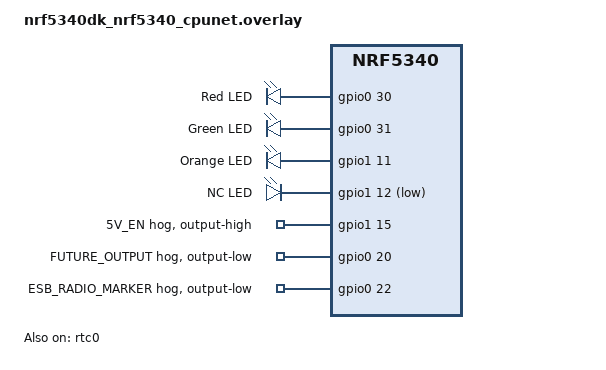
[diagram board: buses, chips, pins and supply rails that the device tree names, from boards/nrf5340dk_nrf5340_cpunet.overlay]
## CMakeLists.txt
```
#
# Copyright (c) 2018 Nordic Semiconductor
#
# SPDX-License-Identifier: LicenseRef-Nordic-5-Clause
#
cmake_minimum_required(VERSION 3.20.0)

find_package(Zephyr REQUIRED HINTS $ENV{ZEPHYR_BASE})
project(esb_ptx)

FILE(GLOB app_sources src/*.c)
# NORDIC SDK APP START
target_sources(app PRIVATE ${app_sources})
# NORDIC SDK APP END
```

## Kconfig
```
#
# Copyright (c) 2020 Nordic Semiconductor
#
# SPDX-License-Identifier: LicenseRef-Nordic-5-Clause
#

source "Kconfig.zephyr"

menu "Enhanced ShockBurst: Transmitter"

config ESB_PTX_RTC0_TICK_RATE_HZ
	int "RTC0 tick rate in hertz"
	range 8 32768
	default 8
	help
	  Sets RTC0's counter and TICK interrupt rate. The value must divide
	  the 32.768 kHz LFCLK exactly. The RTC0 prescaler limits this rate to
	  8 Hz or greater.

config ESB_PTX_APP_LOG_LEVEL
	int "Log level for the ESB PTX sample"
	default 4

endmenu
```

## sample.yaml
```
sample:
  name: ESB ptx Sample
tests:
  sample.esb.ptx:
    sysbuild: true
    filter: CONFIG_UART_CONSOLE and CONFIG_SERIAL_SUPPORT_INTERRUPT
    harness: keyboard
    integration_platforms:
      - nrf52dk/nrf52832
      - nrf52840dk/nrf52840
      - nrf52dk/nrf52810
    platform_allow: nrf52dk/nrf52832 nrf52840dk/nrf52840 nrf52dk/nrf52810
    tags: esb samples console sysbuild ci_samples_esb
  sample.esb.ptx.build:
    sysbuild: true
    build_only: true
    integration_platforms:
      - nrf52dk/nrf52832
      - nrf52833dk/nrf52833
      - nrf52840dk/nrf52840
      - nrf52dk/nrf52810
      - nrf5340dk/nrf5340/cpunet
      - nrf21540dk/nrf52840
      - nrf54h20dk/nrf54h20/cpurad
      - nrf54l15dk/nrf54l15/cpuapp
    platform_allow: >
      nrf52dk/nrf52832
      nrf52833dk/nrf52833
      nrf52840dk/nrf52840
      nrf52dk/nrf52810
      nrf5340dk/nrf5340/cpunet
      nrf21540dk/nrf52840
      nrf54h20dk/nrf54h20/cpurad
      nrf54l15dk/nrf54l15/cpuapp
    tags: esb ci_build sysbuild ci_samples_esb
  sample.esb.ptx.dynamic_irq:
    sysbuild: true
    build_only: true
    extra_configs:
      - CONFIG_ESB_DYNAMIC_INTERRUPTS=y
      - CONFIG_DYNAMIC_INTERRUPTS=y
      - CONFIG_DYNAMIC_DIRECT_INTERRUPTS=y
      - CONFIG_MPSL_DYNAMIC_INTERRUPTS=y
    integration_platforms:
      - nrf5340dk/nrf5340/cpunet
      - nrf52840dk/nrf52840
      - nrf54l15dk/nrf54l15/cpuapp
      - nrf54h20dk/nrf54h20/cpurad
    platform_allow: >
      nrf5340dk/nrf5340/cpunet
      nrf52840dk/nrf52840
      nrf54l15dk/nrf54l15/cpuapp
      nrf54h20dk/nrf54h20/cpurad
    tags: esb ci_build sysbuild ci_samples_esb
  sample.esb.ptx.nrf5340_nrf21540:
    sysbuild: true
    build_only: true
    extra_args: SHIELD=nrf21540ek
    integration_platforms:
      - nrf5340dk/nrf5340/cpunet
    platform_allow: nrf5340dk/nrf5340/cpunet
    tags: esb ci_build sysbuild ci_samples_esb
  sample.esb.ptx.fast_switching:
    sysbuild: true
    build_only: true
    extra_configs:
      - CONFIG_ESB_FAST_SWITCHING=y
      - CONFIG_ESB_FAST_CHANNEL_SWITCHING=y
    integration_platforms:
      - nrf54h20dk/nrf54h20/cpurad
    platform_allow: >
      nrf54h20dk/nrf54h20/cpurad
    tags: esb ci_build sysbuild ci_samples_esb
```

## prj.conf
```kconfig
#
# Copyright (c) 2019 Nordic Semiconductor ASA
#
# SPDX-License-Identifier: LicenseRef-Nordic-5-Clause
#
CONFIG_NCS_SAMPLES_DEFAULTS=y
CONFIG_ESB=y
CONFIG_DK_LIBRARY=y
CONFIG_CLOCK_CONTROL=y
CONFIG_GPIO=y

CONFIG_ESB_PTX_RTC0_TICK_RATE_HZ=8

# LF clock source. The SDK bypass patch below configures the LFXO path for
# our external 32.768 kHz clock.
CONFIG_SOC_ENABLE_LFXO=y
CONFIG_CLOCK_CONTROL_NRF_K32SRC_RC=n

CONFIG_CLOCK_CONTROL_NRF_K32SRC_XTAL=y
CONFIG_SOC_LFXO_CAP_EXTERNAL=y
#CONFIG_CLOCK_CONTROL_NRF_K32SRC_EXT_FULL_SWING=y # What we want, but not supported on nRF5340. Hacked the SDK instead.
CONFIG_CLOCK_CONTROL_NRF_K32SRC_20PPM=y

# LFXO bypass is for a rail-to-rail external clock source.
CONFIG_SOC_LFXO_BYPASS=y
CONFIG_SOC_HFXO_CAP_INTERNAL=y
CONFIG_SOC_HFXO_CAP_INT_VALUE_X2=25
```

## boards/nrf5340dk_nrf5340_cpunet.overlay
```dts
/*
 * Board-specific Devicetree overlay template for nrf5340dk/nrf5340/cpunet.
 *
 * The build system discovers this file automatically for that board target.
 * Add only project-specific node overrides; all other settings inherit from
 * the nRF5340 DK board Devicetree.
 */

&{/buttons} {
	status = "disabled";
};

&led0 {
	gpios = <&gpio0 30 0>;
	label = "Red LED";
};

&led1 {
	gpios = <&gpio0 31 0>;
	label = "Green LED";
};

&led2 {
	gpios = <&gpio1 11 0>;
	label = "Orange LED";
};

&led3 {
	gpios = <&gpio1 12 GPIO_ACTIVE_LOW>;
	label = "NC LED";
};

&uart0 {
	status = "disabled";
};

&rtc0 {
	status = "okay";
	/* Keep below ESB's priority-1 radio interrupt. */
	interrupts = <17 2>;
};

&rtc1 {
	/* Zephyr system clock: do not preempt the RTC0 TX ISR. */
	interrupts = <22 3>;
};

&gpio1 {
	five_v_en: five_v_en {
		gpio-hog;
		gpios = <15 GPIO_ACTIVE_HIGH>;
		output-high;
		line-name = "5V_EN";
	};
};

&gpio0 {
	future_output: future_output {
		gpio-hog;
		gpios = <20 GPIO_ACTIVE_HIGH>;
		output-low;
		line-name = "FUTURE_OUTPUT";
	};

	packet_strobe: packet_strobe {
		gpio-hog;
		gpios = <22 GPIO_ACTIVE_HIGH>;
		output-low;
		line-name = "ESB_RADIO_MARKER";
	};
};
```

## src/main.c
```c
/*
 * Copyright (c) 2018 Nordic Semiconductor ASA
 *
 * SPDX-License-Identifier: LicenseRef-Nordic-5-Clause
 */

#include <errno.h>

#include <zephyr/device.h>
#include <zephyr/drivers/clock_control/nrf_clock_control.h>
#include <zephyr/drivers/gpio.h>
#include <zephyr/irq.h>
#include <zephyr/kernel.h>
#include <zephyr/logging/log.h>
#include <zephyr/sys/atomic.h>
#include <zephyr/sys/byteorder.h>

#include <dk_buttons_and_leds.h>
#include <esb.h>
#include <hal/nrf_gpio.h>
#include <hal/nrf_radio.h>
#include <hal/nrf_rtc.h>
#include <helpers/nrfx_gppi.h>
#include <nrfx_gpiote.h>

LOG_MODULE_REGISTER(esb_ptx, CONFIG_ESB_PTX_APP_LOG_LEVEL);

#define ESB_PTX_PAYLOAD_LENGTH		8U
#define RTC0_TICK_RATE_HZ		CONFIG_ESB_PTX_RTC0_TICK_RATE_HZ
#define RTC0_PRESCALER		NRF_RTC_FREQ_TO_PRESCALER(RTC0_TICK_RATE_HZ)
#define ORANGE_LED_DUTY_CYCLE_PERCENT	5U
#define ORANGE_LED_PERIOD_MS		1000U
#define ORANGE_LED_ON_MS		\
	((ORANGE_LED_PERIOD_MS * ORANGE_LED_DUTY_CYCLE_PERCENT) / 100U)
#define ORANGE_LED_OFF_MS		(ORANGE_LED_PERIOD_MS - ORANGE_LED_ON_MS)
#define RTC0_NODE			DT_NODELABEL(rtc0)
#define RTC0_TX_IRQ_PRIORITY		DT_IRQ(RTC0_NODE, priority)
#define PACKET_STROBE_NODE		DT_NODELABEL(packet_strobe)
#define PACKET_STROBE_PORT_NODE		DT_PARENT(PACKET_STROBE_NODE)
#define PACKET_STROBE_GPIOTE_INST	\
	DT_PROP(DT_PHANDLE(PACKET_STROBE_PORT_NODE, gpiote_instance), instance)
#define PACKET_STROBE_PSEL		\
	NRF_GPIO_PIN_MAP(DT_PROP(PACKET_STROBE_PORT_NODE, port), \
			 DT_GPIO_HOG_PIN_BY_IDX(PACKET_STROBE_NODE, 0))
#define TX_INTERRUPT_MARKER_NODE	DT_NODELABEL(future_output)
#define TX_INTERRUPT_MARKER_PORT_NODE	DT_PARENT(TX_INTERRUPT_MARKER_NODE)
#define TX_INTERRUPT_MARKER_PSEL	\
	NRF_GPIO_PIN_MAP(DT_PROP(TX_INTERRUPT_MARKER_PORT_NODE, port), \
			 DT_GPIO_HOG_PIN_BY_IDX(TX_INTERRUPT_MARKER_NODE, 0))

BUILD_ASSERT((NRF_RTC_INPUT_FREQ % RTC0_TICK_RATE_HZ) == 0U);
BUILD_ASSERT(ORANGE_LED_ON_MS > 0U);
BUILD_ASSERT(ORANGE_LED_OFF_MS > 0U);
BUILD_ASSERT(RTC0_TX_IRQ_PRIORITY >= CONFIG_ESB_EVENT_IRQ_PRIORITY,
	     "RTC0 interrupt priority must not preempt ESB events");
BUILD_ASSERT(IS_ENABLED(_CONCAT(CONFIG_, _CONCAT(NRFX_GPIOTE,
						 PACKET_STROBE_GPIOTE_INST))),
	     "The packet strobe GPIOTE instance must be enabled");

static atomic_t tx_ready;
static atomic_t packet_counter;
static const nrfx_gpiote_t packet_strobe_gpiote =
	NRFX_GPIOTE_INSTANCE(PACKET_STROBE_GPIOTE_INST);
static struct esb_payload tx_payload = ESB_CREATE_PAYLOAD(0,
	0x00, 0x00, 0x00, 0x00, 0x00, 0x00, 0x00, 0x00);

static uint32_t rtc0_counter_get(void)
{
	return nrf_rtc_counter_get(NRF_RTC0);
}

static void rtc0_timebase_start(void)
{
	/*
	 * This ESB configuration uses MPSL FEM-only support, so it does not
	 * initialize MPSL or use RTC0. The network-core system clock uses RTC1.
	 */
	nrf_rtc_task_trigger(NRF_RTC0, NRF_RTC_TASK_STOP);
	nrf_rtc_prescaler_set(NRF_RTC0, RTC0_PRESCALER);
	nrf_rtc_task_trigger(NRF_RTC0, NRF_RTC_TASK_CLEAR);
	nrf_rtc_event_clear(NRF_RTC0, NRF_RTC_EVENT_TICK);
	nrf_rtc_event_enable(NRF_RTC0, NRF_RTC_INT_TICK_MASK);
	nrf_rtc_int_enable(NRF_RTC0, NRF_RTC_INT_TICK_MASK);
	nrf_rtc_task_trigger(NRF_RTC0, NRF_RTC_TASK_START);
}

static int packet_strobe_initialize(void)
{
	const nrfx_gpiote_output_config_t output_config =
		NRFX_GPIOTE_DEFAULT_OUTPUT_CONFIG;
	nrfx_gpiote_task_config_t task_config;
	uint8_t gpiote_channel;
	uint8_t ready_dppi_channel;
	uint8_t end_dppi_channel;
	nrfx_err_t nrfx_err;

	if (!nrfx_gpiote_init_check(&packet_strobe_gpiote)) {
		nrfx_err = nrfx_gpiote_init(&packet_strobe_gpiote, 0);
		if (nrfx_err != NRFX_SUCCESS) {
			LOG_ERR("Packet strobe GPIOTE initialization failed: 0x%08x", nrfx_err);
			return -EIO;
		}
	}

	nrfx_err = nrfx_gpiote_channel_alloc(&packet_strobe_gpiote, &gpiote_channel);
	if (nrfx_err != NRFX_SUCCESS) {
		LOG_ERR("Packet strobe GPIOTE channel allocation failed: 0x%08x",
			nrfx_err);
		return -ENOMEM;
	}

	task_config.task_ch = gpiote_channel;
	task_config.polarity = NRF_GPIOTE_POLARITY_TOGGLE;
	task_config.init_val = NRF_GPIOTE_INITIAL_VALUE_LOW;
	nrfx_err = nrfx_gpiote_output_configure(&packet_strobe_gpiote,
						   PACKET_STROBE_PSEL, &output_config, &task_config);
	if (nrfx_err != NRFX_SUCCESS) {
		LOG_ERR("Packet strobe GPIOTE configuration failed: 0x%08x", nrfx_err);
		return -EIO;
	}

	nrfx_err = nrfx_gppi_channel_alloc(&ready_dppi_channel);
	if (nrfx_err != NRFX_SUCCESS) {
		LOG_ERR("Packet strobe READY DPPI channel allocation failed: 0x%08x",
			nrfx_err);
		return -ENOMEM;
	}

	nrfx_err = nrfx_gppi_channel_alloc(&end_dppi_channel);
	if (nrfx_err != NRFX_SUCCESS) {
		LOG_ERR("Packet strobe END DPPI channel allocation failed: 0x%08x",
			nrfx_err);
		return -ENOMEM;
	}

	nrfx_gpiote_out_task_enable(&packet_strobe_gpiote, PACKET_STROBE_PSEL);
	/* ESB's READY_START shortcut starts the packet at the READY event. */
	nrfx_gppi_channel_endpoints_setup(
		ready_dppi_channel,
		nrf_radio_event_address_get(NRF_RADIO, NRF_RADIO_EVENT_READY),
		nrfx_gpiote_set_task_address_get(&packet_strobe_gpiote, PACKET_STROBE_PSEL));
	nrfx_gppi_channel_endpoints_setup(
		end_dppi_channel,
		nrf_radio_event_address_get(NRF_RADIO, NRF_RADIO_EVENT_END),
		nrfx_gpiote_clr_task_address_get(&packet_strobe_gpiote, PACKET_STROBE_PSEL));
	nrfx_gppi_channels_enable(BIT(ready_dppi_channel) | BIT(end_dppi_channel));

	return 0;
}

static void event_handler(const struct esb_evt *event)
{
	switch (event->evt_id) {
	case ESB_EVENT_TX_SUCCESS:
		atomic_inc(&packet_counter);
		atomic_set(&tx_ready, 1);
		break;

	case ESB_EVENT_TX_FAILED:
		atomic_set(&tx_ready, 1);
		break;

	default:
		break;
	}
}

#if defined(CONFIG_CLOCK_CONTROL_NRF)

static int clocks_start(void)
{
	int err;
	int res;
	struct onoff_manager *clk_mgr;
	struct onoff_client clk_cli;

	clk_mgr = z_nrf_clock_control_get_onoff(CLOCK_CONTROL_NRF_SUBSYS_HF);
	if (!clk_mgr) {
		LOG_ERR("Unable to get the clock manager");
		return -ENXIO;
	}

	sys_notify_init_spinwait(&clk_cli.notify);

	err = onoff_request(clk_mgr, &clk_cli);
	if (err < 0) {
		LOG_ERR("HF clock request failed: %d", err);
		return err;
	}

	do {
		err = sys_notify_fetch_result(&clk_cli.notify, &res);
		if (!err && res) {
			LOG_ERR("HF clock could not start: %d", res);
			return res;
		}
	} while (err);

#if defined(NRF54L15_XXAA)
	/* MLTPAN-20 */
	nrf_clock_task_trigger(NRF_CLOCK, NRF_CLOCK_TASK_PLLSTART);
#endif /* defined(NRF54L15_XXAA) */

	return 0;
}

#elif defined(CONFIG_CLOCK_CONTROL_NRF2)

static int clocks_start(void)
{
	int err;
	int res;
	const struct device *radio_clk_dev =
		DEVICE_DT_GET_OR_NULL(DT_CLOCKS_CTLR(DT_NODELABEL(radio)));
	struct onoff_client radio_cli;

	nrf_lrcconf_poweron_force_set(NRF_LRCCONF010, NRF_LRCCONF_POWER_DOMAIN_1, true);

	sys_notify_init_spinwait(&radio_cli.notify);

	err = nrf_clock_control_request(radio_clk_dev, NULL, &radio_cli);
	do {
		err = sys_notify_fetch_result(&radio_cli.notify, &res);
		if (!err && res) {
			LOG_ERR("Radio clock could not start: %d", res);
			return res;
		}
	} while (err == -EAGAIN);

#if defined(NRF54L15_XXAA)
	/* MLTPAN-20 */
	nrf_clock_task_trigger(NRF_CLOCK, NRF_CLOCK_TASK_PLLSTART);
#endif /* defined(NRF54L15_XXAA) */

	return 0;
}

#else
BUILD_ASSERT(false, "No clock control driver");
#endif /* defined(CONFIG_CLOCK_CONTROL_NRF2) */

static int esb_initialize(void)
{
	int err;
	uint8_t base_addr_0[4] = {0xE7, 0xE7, 0xE7, 0xE7};
	uint8_t base_addr_1[4] = {0xC2, 0xC2, 0xC2, 0xC2};
	uint8_t addr_prefix[8] = {0xE7, 0xC2, 0xC3, 0xC4,
				  0xC5, 0xC6, 0xC7, 0xC8};
	struct esb_config config = ESB_DEFAULT_CONFIG;

	/* DPL is required by ESB for per-packet no-ACK transmissions. */
	config.protocol = ESB_PROTOCOL_ESB_DPL;
	config.payload_length = ESB_PTX_PAYLOAD_LENGTH;
	config.retransmit_delay = 600;
	config.bitrate = ESB_BITRATE_2MBPS;
	config.event_handler = event_handler;
	config.mode = ESB_MODE_PTX;
	config.selective_auto_ack = true;
	if (IS_ENABLED(CONFIG_ESB_FAST_SWITCHING)) {
		config.use_fast_ramp_up = true;
	}

	err = esb_init(&config);
	if (err) {
		return err;
	}

	err = esb_set_base_address_0(base_addr_0);
	if (err) {
		return err;
	}

	err = esb_set_base_address_1(base_addr_1);
	if (err) {
		return err;
	}

	return esb_set_prefixes(addr_prefix, ARRAY_SIZE(addr_prefix));
}

static int packet_send(uint32_t rtc0_ticks)
{
	uint32_t count = (uint32_t)atomic_get(&packet_counter);
	int err;

	/* Payload fields: RTC0 counter followed by packet counter, both little-endian. */
	sys_put_le32(rtc0_ticks, &tx_payload.data[0]);
	sys_put_le32(count, &tx_payload.data[sizeof(rtc0_ticks)]);
	tx_payload.noack = true;

	err = esb_write_payload(&tx_payload);
	if (err) {
		return err;
	}

	return 0;
}

ISR_DIRECT_DECLARE(rtc0_tx_irq_handler)
{
	//uint32_t rtc0_ticks;
	int err;

	nrf_gpio_pin_set(TX_INTERRUPT_MARKER_PSEL);

	if (!nrf_rtc_event_check(NRF_RTC0, NRF_RTC_EVENT_TICK)) {
		return 0;
	}

	nrf_rtc_event_clear(NRF_RTC0, NRF_RTC_EVENT_TICK);
	//rtc0_ticks = rtc0_counter_get();

	if (!atomic_cas(&tx_ready, 1, 0)) {
		return 0;
	}

	//nrf_gpio_pin_set(TX_INTERRUPT_MARKER_PSEL);
	//err = packet_send(rtc0_ticks);
	packet_send(88);
	nrf_gpio_pin_clear(TX_INTERRUPT_MARKER_PSEL);
	if (err) {
		atomic_set(&tx_ready, 1);
	}

	return 0;
}

static void rtc0_tx_irq_initialize(void)
{
	IRQ_DIRECT_CONNECT(DT_IRQN(RTC0_NODE), RTC0_TX_IRQ_PRIORITY,
			   rtc0_tx_irq_handler, 0);
	irq_enable(DT_IRQN(RTC0_NODE));
}

int main(void)
{
	bool orange_led_on = true;
	int64_t next_led_state_change_ms;
	int err;

	err = clocks_start();
	if (err) {
		return 0;
	}

	err = dk_leds_init();
	if (err) {
		LOG_ERR("LED initialization failed: %d", err);
		return 0;
	}

	err = esb_initialize();
	if (err) {
		LOG_ERR("ESB initialization failed: %d", err);
		return 0;
	}

	err = packet_strobe_initialize();
	if (err) {
		return 0;
	}

	atomic_set(&tx_ready, 1);
	atomic_set(&packet_counter, 0);
	err = dk_set_led(DK_LED3, orange_led_on);
	if (err) {
		LOG_ERR("Orange LED initialization failed: %d", err);
		return 0;
	}

	rtc0_tx_irq_initialize();
	rtc0_timebase_start();
	next_led_state_change_ms = k_uptime_get() + ORANGE_LED_ON_MS;

	LOG_INF("RTC0 TICK rate is %u Hz", RTC0_TICK_RATE_HZ);

	while (1) {
		int64_t now_ms = k_uptime_get();

		if (now_ms >= next_led_state_change_ms) {
			orange_led_on = !orange_led_on;
			next_led_state_change_ms += orange_led_on ? ORANGE_LED_ON_MS :
				ORANGE_LED_OFF_MS;
			err = dk_set_led(DK_LED3, orange_led_on);
			if (err) {
				LOG_ERR("Orange LED update failed: %d", err);
			}
		}

		k_msleep(25);
	}
}
```
